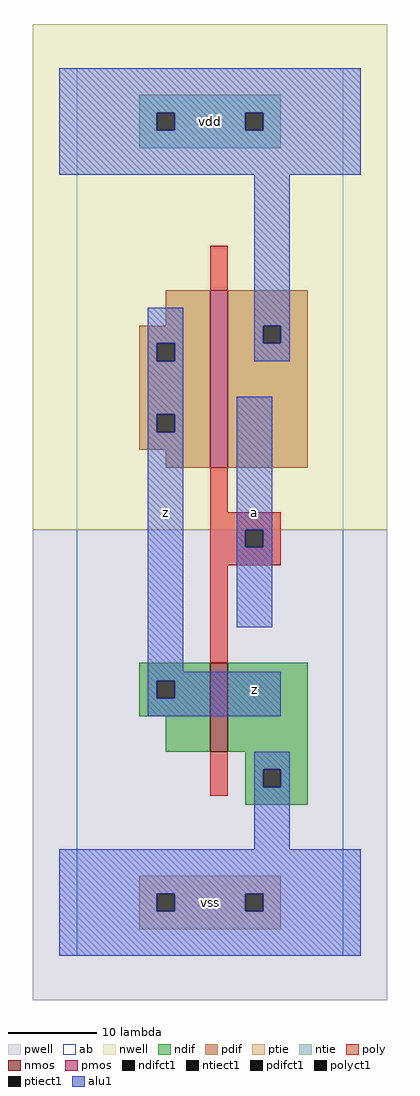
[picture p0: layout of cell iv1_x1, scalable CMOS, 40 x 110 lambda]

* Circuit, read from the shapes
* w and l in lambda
.subckt iv1_x1 a vdd vss z
M1 vss a z vss nfet w=10 l=2
M2 vdd a z vdd pfet w=20 l=2
.ends

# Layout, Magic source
magic
tech scmos
<< ab >>
rect 0 0 30 100
<< nwell >>
rect -5 48 35 105
<< pwell >>
rect -5 -5 35 48
<< poly >>
rect 15 75 17 80
rect 15 50 17 55
rect 15 48 23 50
rect 15 46 19 48
rect 21 46 23 48
rect 15 44 23 46
rect 15 33 17 44
rect 15 18 17 23
<< ndif >>
rect 7 31 15 33
rect 7 29 9 31
rect 11 29 15 31
rect 7 27 15 29
rect 10 23 15 27
rect 17 23 26 33
rect 19 21 26 23
rect 19 19 21 21
rect 23 19 26 21
rect 19 17 26 19
<< pdif >>
rect 10 71 15 75
rect 7 69 15 71
rect 7 67 9 69
rect 11 67 15 69
rect 7 61 15 67
rect 7 59 9 61
rect 11 59 15 61
rect 7 57 15 59
rect 10 55 15 57
rect 17 71 26 75
rect 17 69 21 71
rect 23 69 26 71
rect 17 55 26 69
<< alu1 >>
rect -2 95 32 100
rect -2 93 9 95
rect 11 93 19 95
rect 21 93 32 95
rect -2 88 32 93
rect 8 69 12 73
rect 8 67 9 69
rect 11 67 12 69
rect 20 71 24 88
rect 20 69 21 71
rect 23 69 24 71
rect 20 67 24 69
rect 8 61 12 67
rect 8 59 9 61
rect 11 59 12 61
rect 8 32 12 59
rect 18 48 22 63
rect 18 46 19 48
rect 21 46 22 48
rect 18 37 22 46
rect 8 31 23 32
rect 8 29 9 31
rect 11 29 23 31
rect 8 27 23 29
rect 20 21 24 23
rect 20 19 21 21
rect 23 19 24 21
rect 20 12 24 19
rect -2 7 32 12
rect -2 5 9 7
rect 11 5 19 7
rect 21 5 32 7
rect -2 0 32 5
<< ptie >>
rect 7 7 23 9
rect 7 5 9 7
rect 11 5 19 7
rect 21 5 23 7
rect 7 3 23 5
<< ntie >>
rect 7 95 23 97
rect 7 93 9 95
rect 11 93 19 95
rect 21 93 23 95
rect 7 91 23 93
<< nmos >>
rect 15 23 17 33
<< pmos >>
rect 15 55 17 75
<< polyct1 >>
rect 19 46 21 48
<< ndifct1 >>
rect 9 29 11 31
rect 21 19 23 21
<< ntiect1 >>
rect 9 93 11 95
rect 19 93 21 95
<< ptiect1 >>
rect 9 5 11 7
rect 19 5 21 7
<< pdifct1 >>
rect 9 67 11 69
rect 9 59 11 61
rect 21 69 23 71
<< labels >>
rlabel alu1 15 6 15 6 6 vss
rlabel alu1 10 50 10 50 6 z
rlabel alu1 15 94 15 94 6 vdd
rlabel alu1 20 30 20 30 6 z
rlabel alu1 20 50 20 50 6 a
<< end >>
